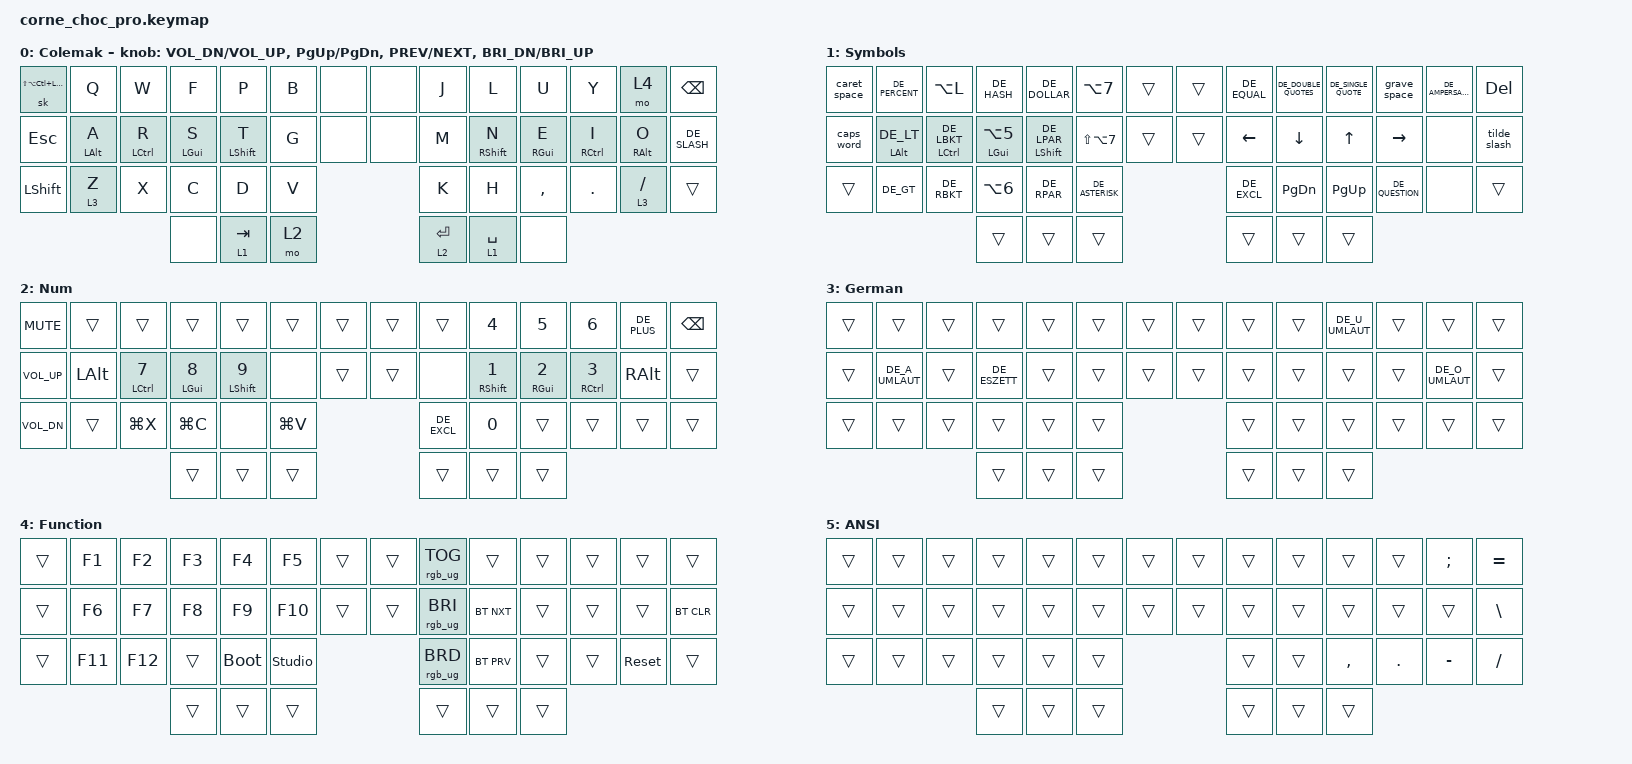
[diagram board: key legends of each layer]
/*
 * Copyright (c) 2020 The ZMK Contributors
 *
 * SPDX-License-Identifier: MIT
 */

#include "keys_de.h"
#include <behaviors.dtsi>
#include <dt-bindings/zmk/bt.h>
#include <dt-bindings/zmk/keys.h>
#include <dt-bindings/zmk/rgb.h>

/ {
    chosen { zmk,physical-layout = &default_layout; };
};

/ {
    macros {
        caret_space: caret_space {
            compatible = "zmk,behavior-macro";
            #binding-cells = <0>;
            bindings = <&kp DE_CARET &kp SPACE>;
        };

        grave_space: grave_space {
            compatible = "zmk,behavior-macro";
            #binding-cells = <0>;
            bindings = <&kp DE_GRAVE &kp SPACE>;
        };

        tilde_slash: tilde_slash {
            compatible = "zmk,behavior-macro";
            #binding-cells = <0>;

            // The following key codes do not work, tested on macros with ansi and iso layout:
            // DE_TILDE

            bindings = <&kp LA(N) &kp DE_SLASH>;
            label = "TILDE_SLASH";
        };
    };

    behaviors {
        hrml: home_row_mod_left {
            compatible = "zmk,behavior-hold-tap";
            bindings = <&kp>, <&kp>;

            #binding-cells = <2>;
            tapping-term-ms = <200>;
            quick-tap-ms = <175>;
            require-prior-idle-ms = <150>;
            flavor = "balanced";
            hold-trigger-key-positions = <22 23 8 9 10 7 8 9 10 11 12 13 21 22 23 24 25 26 27 34 35 36 37 38 39 43 44 45>;
            hold-trigger-on-release;
        };

        hrmlsh: home_row_mod_left_shift {
            compatible = "zmk,behavior-hold-tap";
            bindings = <&kp>, <&kp>;

            #binding-cells = <2>;
            tapping-term-ms = <160>;
            quick-tap-ms = <175>;
            require-prior-idle-ms = <150>;
            flavor = "balanced";
            hold-trigger-key-positions = <22 23 8 9 10 7 8 9 10 11 12 13 21 22 23 24 25 26 27 34 35 36 37 38 39 43 44 45>;
            hold-trigger-on-release;
        };

        hrmr: home_row_mod_right {
            compatible = "zmk,behavior-hold-tap";
            label = "home_row_mod_right";
            bindings = <&kp>, <&kp>;

            #binding-cells = <2>;
            tapping-term-ms = <200>;
            quick-tap-ms = <175>;
            require-prior-idle-ms = <150>;
            flavor = "balanced";
            hold-trigger-on-release;
            hold-trigger-key-positions = <0 1 2 3 4 5 6 14 15 16 17 18 19 20 28 29 30 31 32 33 40 41 42>;
        };

        hrmrsh: home_row_mod_right_shift {
            compatible = "zmk,behavior-hold-tap";
            bindings = <&kp>, <&kp>;

            #binding-cells = <2>;
            tapping-term-ms = <160>;
            quick-tap-ms = <175>;
            require-prior-idle-ms = <150>;
            flavor = "balanced";
            hold-trigger-on-release;
            hold-trigger-key-positions = <0 1 2 3 4 5 6 14 15 16 17 18 19 20 28 29 30 31 32 33 40 41 42>;
        };

        ltger: layer_tap_german {
            compatible = "zmk,behavior-hold-tap";
            bindings = <&mo>, <&kp>;

            #binding-cells = <2>;
            tapping-term-ms = <160>;
            quick-tap-ms = <175>;
            require-prior-idle-ms = <150>;
            flavor = "balanced";
            hold-trigger-on-release;
            hold-trigger-key-positions = <15 9 26 17>;
        };
    };

    combos {
        compatible = "zmk,combos";

        Escape {
            bindings = <&kp ESC>;
            key-positions = <3 4>;
        };

        Ansi {
            bindings = <&tog 5>;
            key-positions = <28 39>;
            layers = <0>;
        };

        Base {
            bindings = <&to 0>;
            key-positions = <39 28>;
            layers = <5>;
        };

        Caps-Word {
            bindings = <&caps_word>;
            key-positions = <19 22>;
        };
    };

    keymap {
        compatible = "zmk,keymap";

        Colemak {
            display-name = "Colemak";

            // --------------------------------------------------------------------------------
            // |  TAB |  Q  |  W  |  E  |  R  |  T  |  MUTE |  PP   |  Y  |  U   |  I  |  O  |  P  | BSPC |
            // | CTRL |  A  |  S  |  D  |  F  |  G  |  LALT |  RALT |  H  |  J   |  K  |  L  |  ;  |  ^   |
            // | SHFT |  Z  |  X  |  C  |  V  |  B  |               |  N  |  M   |  ,  |  .  |  /  | ESC  |
            //                    | GUI | LWR | SPC |               | ENT | RSE  | ALT |

            bindings = <
&sk LS(LA(LC(LEFT_GUI)))  &kp Q             &kp W                 &kp F             &kp P                 &kp B  &none  &none  &kp J        &kp L                  &kp U              &kp Y                  &mo 4              &kp BSPC
&kp ESC                   &hrml LEFT_ALT A  &hrml LEFT_CONTROL R  &hrml LEFT_GUI S  &hrmlsh LEFT_SHIFT T  &kp G  &none  &none  &kp M        &hrmrsh RIGHT_SHIFT N  &hrmr RIGHT_GUI E  &hrmr RIGHT_CONTROL I  &hrmr RIGHT_ALT O  &kp DE_SLASH
&kp LSHFT                 &ltger 3 Z        &kp X                 &kp C             &kp D                 &kp V                &kp K        &kp H                  &kp COMMA          &kp DOT                &ltger 3 FSLH      &trans
                                                                  &none             &lt 1 TAB             &mo 2                &lt 2 ENTER  &lt 1 SPACE            &none
            >;

            sensor-bindings = <&inc_dec_kp C_VOL_DN C_VOL_UP &inc_dec_kp PG_UP PG_DN &inc_dec_kp C_PREV C_NEXT &inc_dec_kp C_BRI_DN C_BRI_UP>;
        };

        Symbols {
            display-name = "Symbols";

            // ----------------------------------------------------------------------
            // |           | % | @ | # | $ | | | =   | "    | '    | `   | +  | DEL |
            // | CAPS_WORD | < | { | [ | ( | \ | LFT | DWN  |  UP  | RGT | ~/ |     |
            // |           | > | } | ] | ) | * | !   | PGDN | PGUP | ?   | /  |     |
            // |           |   |   |   |   |   |     | ALT  |      |     |    |     |
            //
            // + on the right in order to support CMD + (increase size)
            // The following key codes do not work, tested on macros with ansi and iso layout:
            // DE_AT
            // DE_LBRC / DE_RBRC
            // DE_PIPE
            // DE_BACKSLASH

            bindings = <
&caret_space  &kp DE_PERCENT        &kp LA(L)                   &kp DE_HASH            &kp DE_DOLLAR               &kp LA(N7)       &trans  &trans  &kp DE_EQUAL  &kp DE_DOUBLE_QUOTES  &kp DE_SINGLE_QUOTE  &grave_space     &kp DE_AMPERSAND  &kp DEL
&caps_word    &hrml LEFT_ALT DE_LT  &hrml LEFT_CONTROL DE_LBKT  &hrml LEFT_GUI LA(N5)  &hrmlsh LEFT_SHIFT DE_LPAR  &kp LS(LA(N7))   &trans  &trans  &kp LEFT      &kp DOWN              &kp UP               &kp RIGHT        &none             &tilde_slash
&trans        &kp DE_GT             &kp DE_RBKT                 &kp LA(NUMBER_6)       &kp DE_RPAR                 &kp DE_ASTERISK                  &kp DE_EXCL   &kp PG_DN             &kp PG_UP            &kp DE_QUESTION  &none             &trans
                                                                &trans                 &trans                      &trans                           &trans        &trans                &trans
            >;
        };

        Num {
            display-name = "Num";

            // -----------------------------------------------------------------------------------------
            // |      |     |     |     |     |     | LCTRL | RCTRL |     |  4  |  5  |  6  |  +  |  BSPC |
            // |      |     |  7  |  8  |  9  |     | LCTRL | RCTRL |     |  1  |  2  |  3  |     |       |
            // |      |     |     |     |     |     | LCTRL | RCTRL |     |  0  | (,) | (.) | (-) |       |
            //                    |     |     |     |               |     |     |     |

            bindings = <
&kp C_MUTE    &trans        &trans          &trans             &trans               &trans     &trans  &trans  &trans       &kp NUMBER_4                &kp N5              &kp NUMBER_6            &kp DE_PLUS    &kp BACKSPACE
&kp C_VOL_UP  &kp LEFT_ALT  &hrml LCTRL N7  &hrml LEFT_GUI N8  &hrml LEFT_SHIFT N9  &none      &trans  &trans  &none        &hrmr RIGHT_SHIFT NUMBER_1  &hrmr RIGHT_GUI N2  &hrmr RIGHT_CONTROL N3  &kp RIGHT_ALT  &trans
&kp C_VOL_DN  &trans        &kp LG(X)       &kp LG(C)          &none                &kp LG(V)                  &kp DE_EXCL  &kp N0                      &trans              &trans                  &trans         &trans
                                            &trans             &trans               &trans                     &trans       &trans                      &trans
            >;
        };

        German {
            display-name = "German";
            bindings = <
&trans  &trans           &trans  &trans         &trans  &trans  &trans  &trans  &trans  &trans  &kp DE_U_UMLAUT  &trans  &trans           &trans
&trans  &kp DE_A_UMLAUT  &trans  &kp DE_ESZETT  &trans  &trans  &trans  &trans  &trans  &trans  &trans           &trans  &kp DE_O_UMLAUT  &trans
&trans  &trans           &trans  &trans         &trans  &trans                  &trans  &trans  &trans           &trans  &trans           &trans
                                 &trans         &trans  &trans                  &trans  &trans  &trans
            >;
        };

        Function {
            display-name = "Function";
            bindings = <
&trans  &kp F1   &kp F2   &kp F3  &kp F4       &kp F5          &trans  &trans  &rgb_ug RGB_TOG  &trans      &trans  &trans  &trans      &trans
&trans  &kp F6   &kp F7   &kp F8  &kp F9       &kp F10         &trans  &trans  &rgb_ug RGB_BRI  &bt BT_NXT  &trans  &trans  &trans      &bt BT_CLR
&trans  &kp F11  &kp F12  &trans  &bootloader  &studio_unlock                  &rgb_ug RGB_BRD  &bt BT_PRV  &trans  &trans  &sys_reset  &trans
                          &trans  &trans       &trans                          &trans           &trans      &trans
            >;
        };

        ANSI {
            bindings = <
&trans  &trans  &trans  &trans  &trans  &trans  &trans  &trans  &trans  &trans  &trans     &trans   &kp SEMICOLON  &kp EQUAL
&trans  &trans  &trans  &trans  &trans  &trans  &trans  &trans  &trans  &trans  &trans     &trans   &trans         &kp BACKSLASH
&trans  &trans  &trans  &trans  &trans  &trans                  &trans  &trans  &kp COMMA  &kp DOT  &kp MINUS      &kp SLASH
                        &trans  &trans  &trans                  &trans  &trans  &trans
            >;

            label = "ANSI";
        };
    };
};
